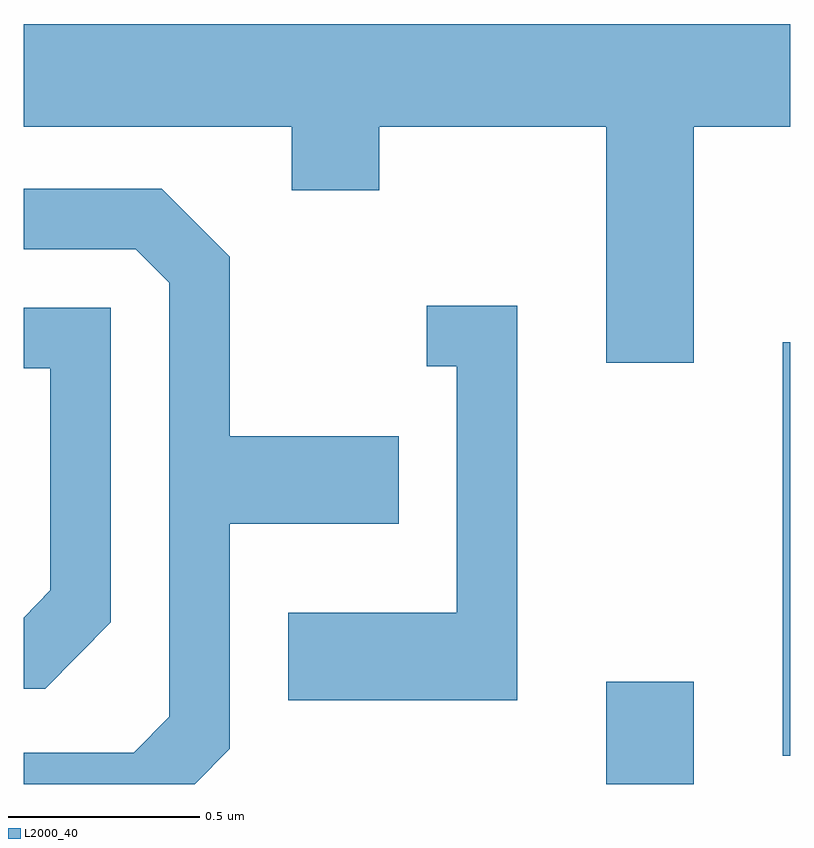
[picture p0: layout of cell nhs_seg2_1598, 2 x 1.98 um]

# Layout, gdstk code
import gdstk
lib = gdstk.Library(unit=1e-6, precision=1e-09)
def R(c, l, rs):  # rectangles x0, y0, x1, y1
    for r in rs: c.add(gdstk.rectangle(r[:2], r[2:], *l))
def P(c, l, *ps):  # polygons
    for p in ps: c.add(gdstk.Polygon(p, *l))
L2000_40 = (2000, 40)

nhs_seg2_1598 = lib.new_cell('nhs_seg2_1598')
R(nhs_seg2_1598, L2000_40, [(198.131,1068.802,198.359,1069.069), (198.591,1068.876,198.611,1069.954)])
P(nhs_seg2_1598, L2000_40, [(198.359,1070.516),(198.611,1070.516),(198.611,1070.784),(196.611,1070.784),(196.611,1070.516),(197.311,1070.516),(197.311,1070.351),(197.539,1070.351),(197.539,1070.516),(198.131,1070.516),(198.131,1069.901),(198.359,1069.901)],
  [(197.149,1068.894),(197.149,1069.481),(197.589,1069.481),(197.589,1069.709),(197.149,1069.709),(197.149,1070.177),(196.972,1070.354),(196.611,1070.354),(196.611,1070.196),(196.904,1070.196),(196.991,1070.109),(196.991,1068.977),(196.899,1068.884),(196.611,1068.884),(196.611,1068.802),(197.058,1068.802)],
  [(197.899,1070.049),(197.663,1070.049),(197.663,1069.891),(197.741,1069.891),(197.741,1069.249),(197.301,1069.249),(197.301,1069.021),(197.899,1069.021)],
  [(196.839,1069.224),(196.839,1070.044),(196.611,1070.044),(196.611,1069.886),(196.681,1069.886),(196.681,1069.307),(196.611,1069.236),(196.611,1069.051),(196.667,1069.051)])

lib.write_gds('nhs_seg2_1598.gds')
